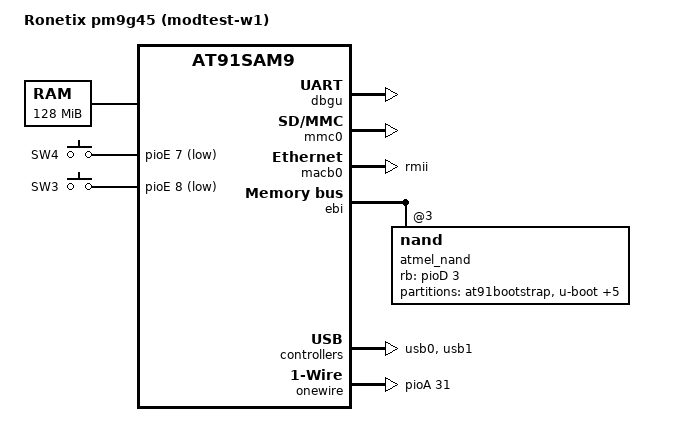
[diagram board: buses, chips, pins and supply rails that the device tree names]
// SPDX-License-Identifier: GPL-2.0-only
/*
 * pm9g45-modtest-w1.dts - Ronetix PM9G45 + BB9G45 production test
 * device tree, 1-Wire-enabled variant.
 *
 * Identical to pm9g45-modtest.dts (that file's own header has the
 * full pinctrl-hog/pull-up rationale, not repeated here) plus one
 * addition: an "onewire" node (compatible = "w1-gpio") for the SoM's
 * onboard DS2401 serial-number chip on PA31, replicating production
 * pm9g45.dts's patch 0003 -- pm9g45-modtest.dts deliberately omits it,
 * replicating only patches 0001/0002.
 *
 * DS2401 looks like a standard, always-populated component on this
 * SoM (it's present, not marked DNP, in both
 * pm9g45_Variant_Standard_Schematic.PDF and
 * pm9g45_Variant_Industrial_Schematic.PDF) -- use this variant to
 * actually exercise/verify it. modtest's own "onewire" check is gated
 * on the live devicetree, so it auto-adapts: PASS/FAIL here,
 * silently-not-checked on pm9g45-modtest.dts -- no separate modtest
 * config needed per variant.
 *
 * Everything below (pinctrl hog, pull-up rationale) is identical to
 * pm9g45-modtest.dts; see that file for the full explanation.
 *
 * NOT used by the production pm9g45_defconfig -- that one still boots
 * the in-tree, patched pm9g45.dts unmodified. This file is only pulled
 * in by pm9g45_test_defconfig via BR2_LINUX_KERNEL_CUSTOM_DTS_PATH, for
 * the modtest production-test image.
 */
/dts-v1/;
#include "microchip/at91sam9g45.dtsi"

/ {
	/*
	 * "modtest-w1" in the model string is a quick way to confirm which
	 * dtb actually booted (`cat /sys/firmware/devicetree/base/model`)
	 * -- distinct from pm9g45-modtest.dts's "modtest" so the two are
	 * never confused, e.g. before chasing a gpiotest failure as a
	 * hog-configuration bug, or wondering why "onewire" isn't
	 * reporting PASS/FAIL. compatible is left unchanged so nothing
	 * driver-visible depends on it.
	 */
	model = "Ronetix pm9g45 (modtest-w1)";
	compatible = "ronetix,pm9g45", "atmel,at91sam9g45", "atmel,at91sam9";

	chosen {
		bootargs = "console=ttyS0,115200";
	};

	memory@70000000 {
		reg = <0x70000000 0x8000000>;
	};

	clocks {
		slow_xtal {
		      clock-frequency = <32768>;
		};

		main_xtal {
		      clock-frequency = <12000000>;
		};
	};

	ahb {
		apb {
			dbgu: serial@ffffee00 {
				status = "okay";
			};

			pinctrl@fffff200 {
				/*
				 * modtest: every BB9G45 J12/J13 pin this
				 * board's pm9g45.pairs exercises, forced to
				 * plain GPIO with an active pull-UP at
				 * boot via the pin controller's own "hog"
				 * mechanism (pinctrl_claim_hogs() in
				 * drivers/pinctrl/core.c) -- see file header
				 * comment above for why a runtime gpiotest
				 * request alone doesn't work here, and why
				 * pull-up rather than pull-down.
				 *
				 * Must precede the nand/mmc subnodes below --
				 * dts requires a node's own properties before
				 * any of its subnodes.
				 *
				 * The group itself is nested two levels below
				 * this node (a "board" function node
				 * containing this "modtest-pullup" group
				 * node, matching every other real group in
				 * this dtsi, e.g. dbgu/dbgu-0, nand/nand-rb-0
				 * below) rather than a direct child of
				 * pinctrl@fffff200 -- otherwise
				 * pinctrl-at91.c's hog resolution can't find
				 * it by name and the whole pinctrl driver
				 * probe fails, taking the console down with
				 * it.
				 *
				 * J14 is not covered: it's the live NAND/EBI
				 * bus, deliberately excluded from testing
				 * entirely (see pm9g45.pairs). PB12/PB13
				 * (dbgu) and PD0/PD8 (USB0/1 vbus-gpio) are
				 * also not covered: real hardware functions
				 * this image still needs, excluded from
				 * pm9g45.pairs rather than freed here.
				 * PB2/PB3 are tested (see
				 * pm9g45.pairs) but deliberately not in this
				 * array: PB3's own permanent 100kOhm pull-up
				 * (R17, SPI0_NPCS0's deselect resistor) already
				 * agrees with this hog's pull-up direction, so
				 * it needs no reinforcement here.
				 */
				pinctrl-names = "default";
				pinctrl-0 = <&pinctrl_modtest_pullup>;

				nand {
					pinctrl_nand_rb: nand-rb-0 {
						atmel,pins =
							<AT91_PIOD 3 AT91_PERIPH_GPIO AT91_PINCTRL_PULL_UP>;
					};
				};

				mmc {
					pinctrl_board_mmc: mmc0-board {
						atmel,pins =
							<AT91_PIOD 6 AT91_PERIPH_GPIO AT91_PINCTRL_PULL_UP_DEGLITCH>;	/* PD6 gpio CD pin pull_up and deglitch */
					};
				};

				board {
					pinctrl_modtest_pullup: modtest-pullup {
						atmel,pins =
							<
							 AT91_PIOB 0  AT91_PERIPH_GPIO AT91_PINCTRL_PULL_UP	/* J12p3_PB0 */
							 AT91_PIOB 1  AT91_PERIPH_GPIO AT91_PINCTRL_PULL_UP	/* J12p4_PB1 */
							 /* J12p5_PB2/J12p6_PB3: not in this array, see pinctrl node comment above */
							 AT91_PIOB 4  AT91_PERIPH_GPIO AT91_PINCTRL_PULL_UP	/* J12p7_PB4 */
							 AT91_PIOB 5  AT91_PERIPH_GPIO AT91_PINCTRL_PULL_UP	/* J12p8_PB5 */
							 AT91_PIOB 6  AT91_PERIPH_GPIO AT91_PINCTRL_PULL_UP	/* J12p9_PB6 */
							 AT91_PIOB 7  AT91_PERIPH_GPIO AT91_PINCTRL_PULL_UP	/* J12p10_PB7 */
							 AT91_PIOB 8  AT91_PERIPH_GPIO AT91_PINCTRL_PULL_UP	/* J12p11_PB8 */
							 AT91_PIOB 9  AT91_PERIPH_GPIO AT91_PINCTRL_PULL_UP	/* J12p12_PB9 */
							 AT91_PIOB 10 AT91_PERIPH_GPIO AT91_PINCTRL_PULL_UP	/* J12p13_PB10 */
							 AT91_PIOB 11 AT91_PERIPH_GPIO AT91_PINCTRL_PULL_UP	/* J12p14_PB11 */
							 AT91_PIOB 14 AT91_PERIPH_GPIO AT91_PINCTRL_PULL_UP	/* J12p17_PB14 */
							 AT91_PIOB 15 AT91_PERIPH_GPIO AT91_PINCTRL_PULL_UP	/* J12p18_PB15 */
							 AT91_PIOB 16 AT91_PERIPH_GPIO AT91_PINCTRL_PULL_UP	/* J12p19_PB16 */
							 AT91_PIOB 17 AT91_PERIPH_GPIO AT91_PINCTRL_PULL_UP	/* J12p20_PB17 */
							 AT91_PIOB 18 AT91_PERIPH_GPIO AT91_PINCTRL_PULL_UP	/* J12p21_PB18 */
							 AT91_PIOB 19 AT91_PERIPH_GPIO AT91_PINCTRL_PULL_UP	/* J12p22_PB19 */
							 AT91_PIOB 20 AT91_PERIPH_GPIO AT91_PINCTRL_PULL_UP	/* J12p23_PB20 */
							 AT91_PIOB 21 AT91_PERIPH_GPIO AT91_PINCTRL_PULL_UP	/* J12p24_PB21 */
							 AT91_PIOB 22 AT91_PERIPH_GPIO AT91_PINCTRL_PULL_UP	/* J12p25_PB22 */
							 AT91_PIOB 23 AT91_PERIPH_GPIO AT91_PINCTRL_PULL_UP	/* J12p26_PB23 */
							 AT91_PIOB 24 AT91_PERIPH_GPIO AT91_PINCTRL_PULL_UP	/* J12p27_PB24 */
							 AT91_PIOB 25 AT91_PERIPH_GPIO AT91_PINCTRL_PULL_UP	/* J12p28_PB25 */
							 AT91_PIOB 26 AT91_PERIPH_GPIO AT91_PINCTRL_PULL_UP	/* J12p29_PB26 */
							 AT91_PIOB 27 AT91_PERIPH_GPIO AT91_PINCTRL_PULL_UP	/* J12p30_PB27 */
							 AT91_PIOB 28 AT91_PERIPH_GPIO AT91_PINCTRL_PULL_UP	/* J12p31_PB28 */
							 AT91_PIOB 29 AT91_PERIPH_GPIO AT91_PINCTRL_PULL_UP	/* J12p32_PB29 */
							 AT91_PIOB 30 AT91_PERIPH_GPIO AT91_PINCTRL_PULL_UP	/* J12p33_PB30 */
							 AT91_PIOB 31 AT91_PERIPH_GPIO AT91_PINCTRL_PULL_UP	/* J12p34_PB31 */
							 AT91_PIOA 8  AT91_PERIPH_GPIO AT91_PINCTRL_PULL_UP	/* J13p3_PA8 */
							 AT91_PIOA 9  AT91_PERIPH_GPIO AT91_PINCTRL_PULL_UP	/* J13p4_PA9 */
							 AT91_PIOA 20 AT91_PERIPH_GPIO AT91_PINCTRL_PULL_UP	/* J13p5_PA20 */
							 AT91_PIOA 21 AT91_PERIPH_GPIO AT91_PINCTRL_PULL_UP	/* J13p6_PA21 */
							 AT91_PIOA 23 AT91_PERIPH_GPIO AT91_PINCTRL_PULL_UP	/* J13p7_PA23 */
							 AT91_PIOA 24 AT91_PERIPH_GPIO AT91_PINCTRL_PULL_UP	/* J13p8_PA24 */
							 AT91_PIOA 25 AT91_PERIPH_GPIO AT91_PINCTRL_PULL_UP	/* J13p9_PA25 */
							 AT91_PIOA 28 AT91_PERIPH_GPIO AT91_PINCTRL_PULL_UP	/* J13p10_PA28 */
							 AT91_PIOC 6  AT91_PERIPH_GPIO AT91_PINCTRL_PULL_UP	/* J13p11_PC6 */
							 AT91_PIOC 8  AT91_PERIPH_GPIO AT91_PINCTRL_PULL_UP	/* J13p12_PC8 */
							 AT91_PIOC 9  AT91_PERIPH_GPIO AT91_PINCTRL_PULL_UP	/* J13p13_PC9 */
							 AT91_PIOC 10 AT91_PERIPH_GPIO AT91_PINCTRL_PULL_UP	/* J13p14_PC10 */
							 AT91_PIOC 11 AT91_PERIPH_GPIO AT91_PINCTRL_PULL_UP	/* J13p15_PC11 */
							 AT91_PIOC 12 AT91_PERIPH_GPIO AT91_PINCTRL_PULL_UP	/* J13p16_PC12 */
							 AT91_PIOC 13 AT91_PERIPH_GPIO AT91_PINCTRL_PULL_UP	/* J13p17_PC13 */
							 AT91_PIOC 15 AT91_PERIPH_GPIO AT91_PINCTRL_PULL_UP	/* J13p18_PC15 */
							 AT91_PIOD 16 AT91_PERIPH_GPIO AT91_PINCTRL_PULL_UP	/* J13p24_PD16 */
							 AT91_PIOD 17 AT91_PERIPH_GPIO AT91_PINCTRL_PULL_UP	/* J13p23_PD17 */
							 AT91_PIOD 18 AT91_PERIPH_GPIO AT91_PINCTRL_PULL_UP	/* J13p26_PD18 */
							 AT91_PIOD 19 AT91_PERIPH_GPIO AT91_PINCTRL_PULL_UP	/* J13p25_PD19 */
							 AT91_PIOD 20 AT91_PERIPH_GPIO AT91_PINCTRL_PULL_UP	/* J13p28_PD20 */
							 AT91_PIOD 21 AT91_PERIPH_GPIO AT91_PINCTRL_PULL_UP	/* J13p27_PD21 */
							 AT91_PIOD 22 AT91_PERIPH_GPIO AT91_PINCTRL_PULL_UP	/* J13p30_PD22 */
							 AT91_PIOD 23 AT91_PERIPH_GPIO AT91_PINCTRL_PULL_UP	/* J13p29_PD23 */
							 AT91_PIOD 24 AT91_PERIPH_GPIO AT91_PINCTRL_PULL_UP	/* J13p32_PD24 */
							 AT91_PIOD 25 AT91_PERIPH_GPIO AT91_PINCTRL_PULL_UP	/* J13p31_PD25 */
							 AT91_PIOD 27 AT91_PERIPH_GPIO AT91_PINCTRL_PULL_UP	/* J13p34_PD27 */
							 AT91_PIOD 28 AT91_PERIPH_GPIO AT91_PINCTRL_PULL_UP	/* J13p33_PD28 */
							 AT91_PIOD 29 AT91_PERIPH_GPIO AT91_PINCTRL_PULL_UP	/* J13p36_PD29 */
							 AT91_PIOD 30 AT91_PERIPH_GPIO AT91_PINCTRL_PULL_UP	/* J13p35_PD30 */
							 AT91_PIOD 31 AT91_PERIPH_GPIO AT91_PINCTRL_PULL_UP	/* J12p38_PD31 */
							 AT91_PIOE 31 AT91_PERIPH_GPIO AT91_PINCTRL_PULL_UP	/* J12p36_PE31 */
							>;
					};
				};
			};

			tcb0: timer@fff7c000 {
				timer@0 {
					compatible = "atmel,tcb-timer";
					reg = <0>, <1>;
				};

				timer@2 {
					compatible = "atmel,tcb-timer";
					reg = <2>;
				};
			};

			mmc0: mmc@fff80000 {
				pinctrl-0 = <
					&pinctrl_board_mmc
					&pinctrl_mmc0_slot0_clk_cmd_dat0
					&pinctrl_mmc0_slot0_dat1_3>;
				pinctrl-names = "default";
				status = "okay";
				slot@0 {
					reg = <0>;
					bus-width = <4>;
					cd-gpios = <&pioD 6 GPIO_ACTIVE_HIGH>;
				};
			};

			macb0: ethernet@fffbc000 {
				phy-mode = "rmii";
				status = "okay";
			};
		};

		ebi: ebi@10000000 {
			status = "okay";

			nand_controller: nand-controller {
				status = "okay";
				pinctrl-0 = <&pinctrl_nand_cs &pinctrl_nand_rb>;
				pinctrl-names = "default";

				nand@3 {
					reg = <0x3 0x0 0x800000>;
					rb-gpios = <&pioD 3 GPIO_ACTIVE_HIGH>;
					cs-gpios = <&pioC 14 GPIO_ACTIVE_HIGH>;
					nand-bus-width = <8>;
					nand-ecc-mode = "soft";
					nand-on-flash-bbt;
					label = "atmel_nand";

					partitions {
						compatible = "fixed-partitions";
						#address-cells = <1>;
						#size-cells = <1>;

						at91bootstrap@0 {
							label = "at91bootstrap";
							reg = <0x0 0x20000>;
						};

						uboot@20000 {
							label = "u-boot";
							reg = <0x20000 0xe0000>;
						};

						ubootenv@100000 {
							label = "uboot env";
							reg = <0x100000 0x40000>;
						};

						ubootenv2@140000 {
							label = "uboot env";
							reg = <0x140000 0x40000>;
						};

						dtb@180000 {
							label = "device tree";
							reg = <0x180000 0x800000>;
						};

						kernel@200000 {
							label = "kernel";
							reg = <0x200000 0x600000>;
						};

						data@800000 {
							label = "rootfs";
							reg = <0x800000 0x8000000>;
						};
					};
				};
			};
		};

		usb0: ohci@700000 {
			status = "okay";
			num-ports = <2>;
			atmel,vbus-gpio = <&pioD 0 GPIO_ACTIVE_LOW
					   &pioD 8 GPIO_ACTIVE_LOW>;
		};

		usb1: ehci@800000 {
			status = "okay";
		};
	};

	leds {
		compatible = "gpio-leds";

		led0 {
			/*
			 * Disabled here (production keeps it enabled) to
			 * free PD30 for gpiotest -- see led1's own comment
			 * below for the mechanism. See pm9g45.pairs'
			 * J13p35_PD30/J13p36_PD29 row and its own comment.
			 */
			status = "disabled";
			label = "led0";
			gpios = <&pioD 30 GPIO_ACTIVE_LOW>;
			linux,default-trigger = "nand-disk";
		};

		led1 {
			/*
			 * Disabled here (production keeps it enabled) to
			 * free PD31 for gpiotest -- leds-gpio.c uses
			 * of_get_next_available_child(), which honors
			 * "status", so this node is skipped at probe
			 * instead of claiming the gpio. See pm9g45.pairs'
			 * J12p38_PD31/J12p36_PE31 row and its own comment.
			 */
			status = "disabled";
			label = "led1";
			gpios = <&pioD 31 GPIO_ACTIVE_HIGH>;
			linux,default-trigger = "heartbeat";
		};
	};

	gpio_keys {
		compatible = "gpio-keys";
		#address-cells = <1>;
		#size-cells = <0>;

		right {
			label = "SW4";
			gpios = <&pioE 7 GPIO_ACTIVE_LOW>;
			linux,code = <106>;
		};

		up {
			label = "SW3";
			gpios = <&pioE 8 GPIO_ACTIVE_LOW>;
			linux,code = <103>;
		};
	};

	onewire {
		compatible = "w1-gpio";
		gpios = <&pioA 31 (GPIO_ACTIVE_HIGH | GPIO_OPEN_DRAIN)>;
	};
};
